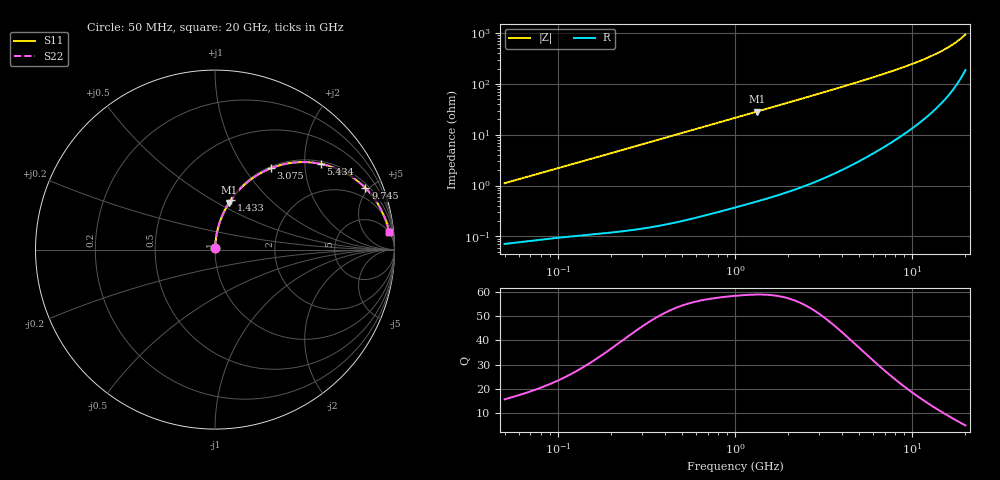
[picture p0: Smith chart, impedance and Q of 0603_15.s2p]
!Murata Part Number: LQW18AN3N9C00
!These Parameters are Measured in Series Mode Connection
!  o--[Z]--o
!Port1  Port2
!  o-------o
!Freq. Start=50[MHz] Stop=20[GHz], 401[Steps]
# Hz S RI R 50
!Freq.(Hz) S11(Real) S11(Imag) S21(Real) S21(Imag) S12(Real) S12(Imag) S22(Real) S22(Imag)
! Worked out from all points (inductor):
!   401 points, 50 MHz to 20 GHz, reference 50 ohm
!   read as one part in series: L = 3.52 nH near 51.52 MHz
!   highest Q = 58.8 at 1.329 GHz (marker M1), where L = 3.42 nH
!   S11 on the Smith chart (normalised r, x): 50 MHz: 1.00, +0.02; 1.433 GHz: 1.01, +0.61; 3.075 GHz: 1.03, +1.33; 5.434 GHz: 1.07, +2.41; 9.745 GHz: 1.25, +4.77; 20 GHz: 5, +18
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5e7  0.000831 0.0111  0.9992 -0.0111  0.9992 -0.0111  0.000831 0.0111
1.364002e8  0.00192 0.0296  0.9981 -0.0296  0.9981 -0.0296  0.00192 0.0296
2.33884e8  0.00382 0.0504  0.9962 -0.0504  0.9962 -0.0504  0.00382 0.0504
3.721004e8  0.00801 0.0797  0.992 -0.0797  0.992 -0.0797  0.00801 0.0797
6.285508e8  0.0203 0.1324  0.9797 -0.1324  0.9797 -0.1324  0.0203 0.1324
1e9  0.0473 0.204  0.9527 -0.204  0.9527 -0.204  0.0473 0.204
1.329223e9  0.0791 0.2615  0.9209 -0.2615  0.9209 -0.2615  0.0791 0.2615
1.432596e9  0.0903 0.2782  0.9097 -0.2782  0.9097 -0.2782  0.0903 0.2782
1.99176e9  0.159 0.3571  0.841 -0.3571  0.841 -0.3571  0.159 0.3571
2.728004e9  0.261 0.4298  0.739 -0.4298  0.739 -0.4298  0.261 0.4298
3.075291e9  0.3099 0.4526  0.6901 -0.4526  0.6901 -0.4526  0.3099 0.4526
4.149438e9  0.452 0.486  0.548 -0.486  0.548 -0.486  0.452 0.486
4.748272e9  0.5212 0.4867  0.4788 -0.4867  0.4788 -0.4867  0.5212 0.4867
5.433528e9  0.5905 0.4775  0.4095 -0.4775  0.4095 -0.4775  0.5905 0.4775
6.311513e9  0.6644 0.456  0.3356 -0.456  0.3356 -0.456  0.6644 0.456
7.442007e9  0.7387 0.4204  0.2613 -0.4204  0.2613 -0.4204  0.7387 0.4204
9.745021e9  0.8384 0.3429  0.1616 -0.3429  0.1616 -0.3429  0.8384 0.3429
1.220001e10  0.8988 0.2684  0.1012 -0.2684  0.1012 -0.2684  0.8988 0.2684
1.482269e10  0.9358 0.2014  0.0642 -0.2014  0.0642 -0.2014  0.9358 0.2014
1.721783e10  0.9558 0.1499  0.0442 -0.1499  0.0442 -0.1499  0.9558 0.1499
1.940974e10  0.967 0.1089  0.033 -0.1089  0.033 -0.1089  0.967 0.1089
2e10  0.9693 0.0987  0.0307 -0.0987  0.0307 -0.0987  0.9693 0.0987
